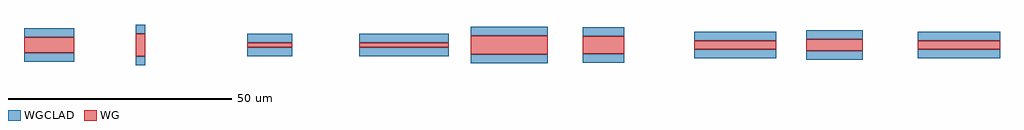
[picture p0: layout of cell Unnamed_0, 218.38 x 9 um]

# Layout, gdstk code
import gdstk
lib = gdstk.Library(unit=1e-6, precision=1e-09)
def R(c, l, rs):  # rectangles x0, y0, x1, y1
    for r in rs: c.add(gdstk.rectangle(r[:2], r[2:], *l))
WG = (1, 0)
WGCLAD = (111, 0)

straight_cssym_f7fe636c_ = lib.new_cell('straight_CSsym_f7fe636c_1856_L18390')
R(straight_cssym_f7fe636c_, WG, [(0,-0.928,18.39,0.928)])
R(straight_cssym_f7fe636c_, WGCLAD, [(0,-2.928,18.39,-0.928), (0,0.928,18.39,2.928)])

c_straight_cssym_f7fe636c_ = lib.new_cell('straight_CSsym_f7fe636c_2584_L12734')
R(c_straight_cssym_f7fe636c_, WG, [(0,-1.292,12.734,1.292)])
R(c_straight_cssym_f7fe636c_, WGCLAD, [(0,-3.292,12.734,-1.292), (0,1.292,12.734,3.292)])

c_straight_cssym_f7fe636c__ = lib.new_cell('straight_CSsym_f7fe636c_1878_L18291')
R(c_straight_cssym_f7fe636c__, WG, [(0,-0.939,18.291,0.939)])
R(c_straight_cssym_f7fe636c__, WGCLAD, [(0,-2.939,18.291,-0.939), (0,0.939,18.291,2.939)])

c_straight_cssym_f7fe636c___ = lib.new_cell('straight_CSsym_f7fe636c_3840_L9271')
R(c_straight_cssym_f7fe636c___, WG, [(0,-1.92,9.271,1.92)])
R(c_straight_cssym_f7fe636c___, WGCLAD, [(0,-3.92,9.271,-1.92), (0,1.92,9.271,3.92)])

c_straight_cssym_f7fe636c____ = lib.new_cell('straight_CSsym_f7fe636c_4058_L17201')
R(c_straight_cssym_f7fe636c____, WG, [(0,-2.029,17.201,2.029)])
R(c_straight_cssym_f7fe636c____, WGCLAD, [(0,-4.029,17.201,-2.029), (0,2.029,17.201,4.029)])

c_straight_cssym_f7fe636c_____ = lib.new_cell('straight_CSsym_f7fe636c_1002_L19999')
R(c_straight_cssym_f7fe636c_____, WG, [(0,-0.501,19.999,0.501)])
R(c_straight_cssym_f7fe636c_____, WGCLAD, [(0,-2.501,19.999,-0.501), (0,0.501,19.999,2.501)])

c_straight_cssym_f7fe636c______ = lib.new_cell('straight_CSsym_f7fe636c_1004_L10029')
R(c_straight_cssym_f7fe636c______, WG, [(0,-0.502,10.029,0.502)])
R(c_straight_cssym_f7fe636c______, WGCLAD, [(0,-2.502,10.029,-0.502), (0,0.502,10.029,2.502)])

c_straight_cssym_f7fe636c_______ = lib.new_cell('straight_CSsym_f7fe636c_4998_L2102')
R(c_straight_cssym_f7fe636c_______, WG, [(0,-2.499,2.102,2.499)])
R(c_straight_cssym_f7fe636c_______, WGCLAD, [(0,-4.499,2.102,-2.499), (0,2.499,2.102,4.499)])

c_straight_cssym_f7fe636c________ = lib.new_cell('straight_CSsym_f7fe636c_3444_L11292')
R(c_straight_cssym_f7fe636c________, WG, [(0,-1.722,11.292,1.722)])
R(c_straight_cssym_f7fe636c________, WGCLAD, [(0,-3.722,11.292,-1.722), (0,1.722,11.292,3.722)])

unnamed_0 = lib.new_cell('Unnamed_0')
unnamed_0.add(gdstk.Reference(straight_cssym_f7fe636c_, (212.492,6.999)))
unnamed_0.add(gdstk.Reference(c_straight_cssym_f7fe636c_, (187.493,6.999)))
unnamed_0.add(gdstk.Reference(c_straight_cssym_f7fe636c__, (162.494,6.999)))
unnamed_0.add(gdstk.Reference(c_straight_cssym_f7fe636c___, (137.495,6.999)))
unnamed_0.add(gdstk.Reference(c_straight_cssym_f7fe636c____, (112.496,6.999)))
unnamed_0.add(gdstk.Reference(c_straight_cssym_f7fe636c_____, (87.497,6.999)))
unnamed_0.add(gdstk.Reference(c_straight_cssym_f7fe636c______, (62.498,6.999)))
unnamed_0.add(gdstk.Reference(c_straight_cssym_f7fe636c_______, (37.499,6.999)))
unnamed_0.add(gdstk.Reference(c_straight_cssym_f7fe636c________, (12.5,6.999)))

lib.write_gds('Unnamed_0.gds')
